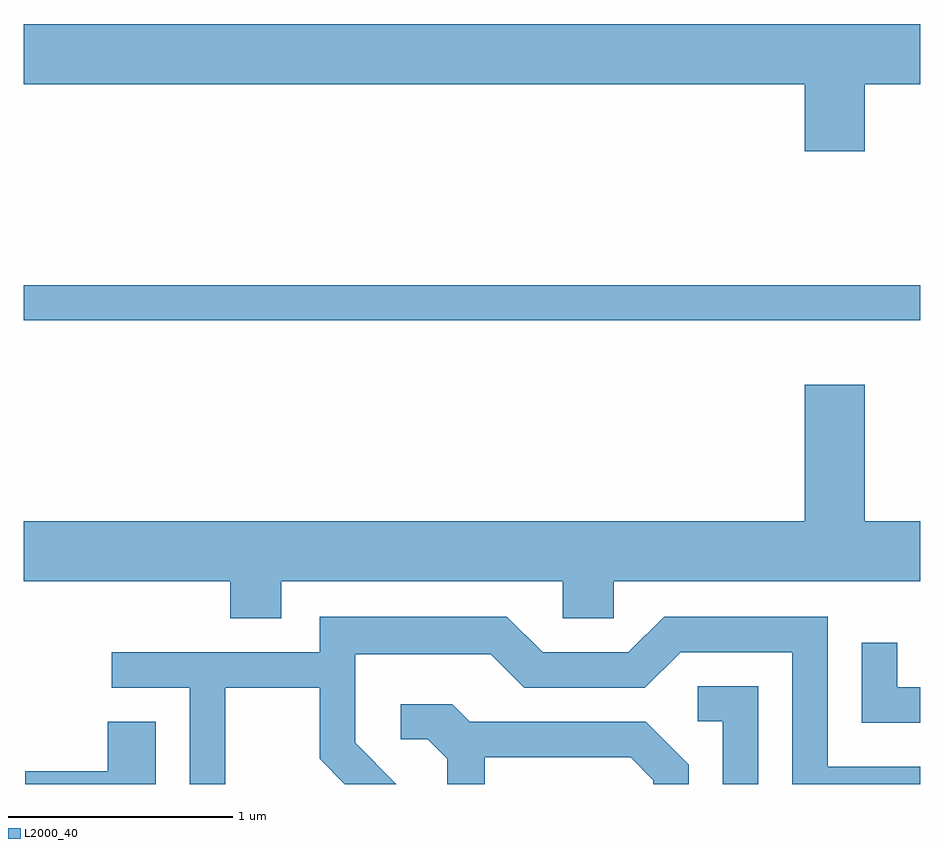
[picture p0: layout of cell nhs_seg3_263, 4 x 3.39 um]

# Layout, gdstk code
import gdstk
lib = gdstk.Library(unit=1e-6, precision=1e-09)
def R(c, l, rs):  # rectangles x0, y0, x1, y1
    for r in rs: c.add(gdstk.rectangle(r[:2], r[2:], *l))
def P(c, l, *ps):  # polygons
    for p in ps: c.add(gdstk.Polygon(p, *l))
L2000_40 = (2000, 40)

nhs_seg3_263 = lib.new_cell('nhs_seg3_263')
R(nhs_seg3_263, L2000_40, [(191.611,1235.961,195.611,1236.119)])
P(nhs_seg3_263, L2000_40, [(195.364,1237.016),(195.611,1237.016),(195.611,1237.284),(191.611,1237.284),(191.611,1237.016),(195.096,1237.016),(195.096,1236.716),(195.364,1236.716)],
  [(192.759,1234.796),(194.016,1234.796),(194.016,1234.631),(194.244,1234.631),(194.244,1234.796),(195.611,1234.796),(195.611,1235.064),(195.364,1235.064),(195.364,1235.674),(195.096,1235.674),(195.096,1235.064),(191.611,1235.064),(191.611,1234.796),(192.531,1234.796),(192.531,1234.631),(192.759,1234.631)],
  [(192.509,1234.321),(192.931,1234.321),(192.931,1234.004),(193.043,1233.892),(193.274,1233.892),(193.089,1234.077),(193.089,1234.471),(193.694,1234.471),(193.844,1234.321),(194.382,1234.321),(194.542,1234.481),(195.041,1234.481),(195.041,1233.892),(195.611,1233.892),(195.611,1233.969),(195.199,1233.969),(195.199,1234.639),(194.469,1234.639),(194.309,1234.479),(193.927,1234.479),(193.767,1234.639),(192.931,1234.639),(192.931,1234.479),(192.003,1234.479),(192.003,1234.321),(192.351,1234.321),(192.351,1233.892),(192.509,1233.892)],
  [(195.611,1234.324),(195.509,1234.324),(195.509,1234.523),(195.351,1234.523),(195.351,1234.166),(195.611,1234.166)],
  [(194.889,1234.329),(194.618,1234.329),(194.618,1234.171),(194.731,1234.171),(194.731,1233.892),(194.889,1233.892)],
  [(193.669,1234.011),(194.319,1234.011),(194.421,1233.909),(194.421,1233.892),(194.579,1233.892),(194.579,1233.977),(194.387,1234.169),(193.602,1234.169),(193.522,1234.249),(193.293,1234.249),(193.293,1234.091),(193.414,1234.091),(193.501,1234.004),(193.501,1233.892),(193.669,1233.892)],
  [(192.199,1234.169),(191.986,1234.169),(191.986,1233.949),(191.616,1233.949),(191.616,1233.892),(192.199,1233.892)])

lib.write_gds('nhs_seg3_263.gds')
